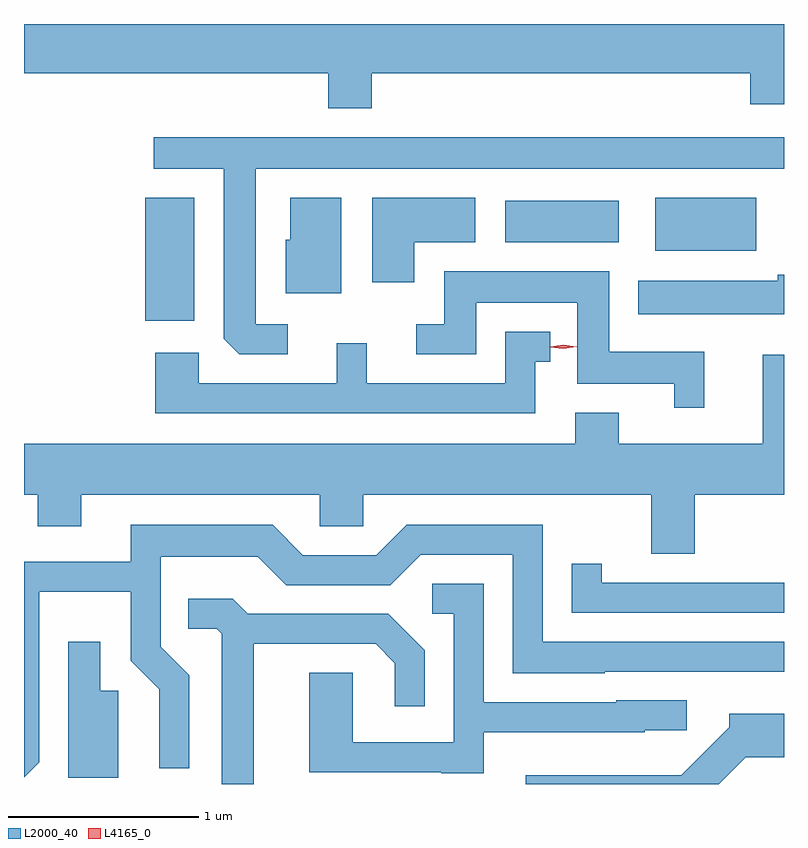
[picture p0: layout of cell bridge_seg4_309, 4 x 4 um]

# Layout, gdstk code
import gdstk
lib = gdstk.Library(unit=1e-6, precision=1e-09)
def R(c, l, rs):  # rectangles x0, y0, x1, y1
    for r in rs: c.add(gdstk.rectangle(r[:2], r[2:], *l))
def P(c, l, *ps):  # polygons
    for p in ps: c.add(gdstk.Polygon(p, *l))
L2000_40 = (2000, 40)
L4165_0 = (4165, 0)

bridge_seg4_309 = lib.new_cell('bridge_seg4_309')
R(bridge_seg4_309, L2000_40, [(503.126,1271.231,503.384,1271.879), (505.811,1271.601,506.344,1271.879), (505.021,1271.646,505.619,1271.864)])
P(bridge_seg4_309, L2000_40, [(504.319,1272.536),(506.311,1272.536),(506.311,1272.371),(506.489,1272.371),(506.489,1272.794),(502.489,1272.794),(502.489,1272.536),(504.091,1272.536),(504.091,1272.351),(504.319,1272.351)],
  [(503.878,1271.214),(503.709,1271.214),(503.709,1272.031),(506.489,1272.031),(506.489,1272.199),(503.173,1272.199),(503.173,1272.031),(503.541,1272.031),(503.541,1271.137),(503.622,1271.056),(503.878,1271.056)],
  [(504.544,1271.646),(504.864,1271.646),(504.864,1271.879),(504.321,1271.879),(504.321,1271.436),(504.544,1271.436)],
  [(504.159,1271.879),(503.891,1271.879),(503.891,1271.659),(503.866,1271.659),(503.866,1271.376),(504.159,1271.376)],
  [(506.069,1271.069),(505.569,1271.069),(505.569,1271.494),(504.701,1271.494),(504.701,1271.214),(504.553,1271.214),(504.553,1271.056),(504.869,1271.056),(504.869,1271.326),(505.401,1271.326),(505.401,1270.901),(505.911,1270.901),(505.911,1270.773),(506.069,1270.773)],
  [(506.489,1271.474),(506.456,1271.474),(506.456,1271.444),(505.721,1271.444),(505.721,1271.266),(506.489,1271.266)],
  [(505.179,1271.016),(505.258,1271.016),(505.258,1271.174),(505.021,1271.174),(505.021,1270.904),(504.294,1270.904),(504.294,1271.113),(504.136,1271.113),(504.136,1270.904),(503.409,1270.904),(503.409,1271.064),(503.181,1271.064),(503.181,1270.746),(505.179,1270.746)],
  [(506.019,1270.316),(506.489,1270.316),(506.489,1271.053),(506.376,1271.053),(506.376,1270.584),(505.619,1270.584),(505.619,1270.749),(505.391,1270.749),(505.391,1270.584),(502.489,1270.584),(502.489,1270.316),(502.561,1270.316),(502.561,1270.151),(502.789,1270.151),(502.789,1270.316),(504.046,1270.316),(504.046,1270.151),(504.274,1270.151),(504.274,1270.316),(505.791,1270.316),(505.791,1270.006),(506.019,1270.006)],
  [(502.569,1268.909),(502.569,1269.806),(503.051,1269.806),(503.051,1269.444),(503.201,1269.294),(503.201,1268.878),(503.359,1268.878),(503.359,1269.367),(503.209,1269.517),(503.209,1269.991),(503.719,1269.991),(503.869,1269.841),(504.417,1269.841),(504.577,1270.001),(505.061,1270.001),(505.061,1269.376),(505.545,1269.376),(505.545,1269.386),(506.489,1269.386),(506.489,1269.544),(505.219,1269.544),(505.219,1270.159),(504.504,1270.159),(504.344,1269.999),(503.957,1269.999),(503.797,1270.159),(503.051,1270.159),(503.051,1269.964),(502.489,1269.964),(502.489,1268.829)],
  [(506.489,1269.854),(505.529,1269.854),(505.529,1269.953),(505.371,1269.953),(505.371,1269.696),(506.489,1269.696)],
  [(504.909,1269.066),(505.755,1269.066),(505.755,1269.076),(505.978,1269.076),(505.978,1269.234),(505.605,1269.234),(505.605,1269.224),(504.909,1269.224),(504.909,1269.849),(504.638,1269.849),(504.638,1269.691),(504.751,1269.691),(504.751,1269.014),(504.219,1269.014),(504.219,1269.379),(503.991,1269.379),(503.991,1268.856),(504.685,1268.856),(504.685,1268.851),(504.909,1268.851)],
  [(503.699,1269.531),(504.339,1269.531),(504.441,1269.429),(504.441,1269.203),(504.599,1269.203),(504.599,1269.497),(504.407,1269.689),(503.667,1269.689),(503.587,1269.769),(503.353,1269.769),(503.353,1269.611),(503.504,1269.611),(503.531,1269.584),(503.531,1268.794),(503.699,1268.794)],
  [(502.984,1269.284),(502.889,1269.284),(502.889,1269.543),(502.721,1269.543),(502.721,1268.826),(502.984,1268.826)],
  [(506.287,1268.936),(506.489,1268.936),(506.489,1269.164),(506.201,1269.164),(506.201,1269.092),(505.949,1268.839),(505.131,1268.839),(505.131,1268.794),(506.145,1268.794)])
P(bridge_seg4_309, L4165_0, [(505.328,1271.086),(505.259,1271.094),(505.259,1271.095),(505.259,1271.096),(505.328,1271.105),(505.398,1271.096),(505.398,1271.096),(505.398,1271.095)])

lib.write_gds('bridge_seg4_309.gds')
